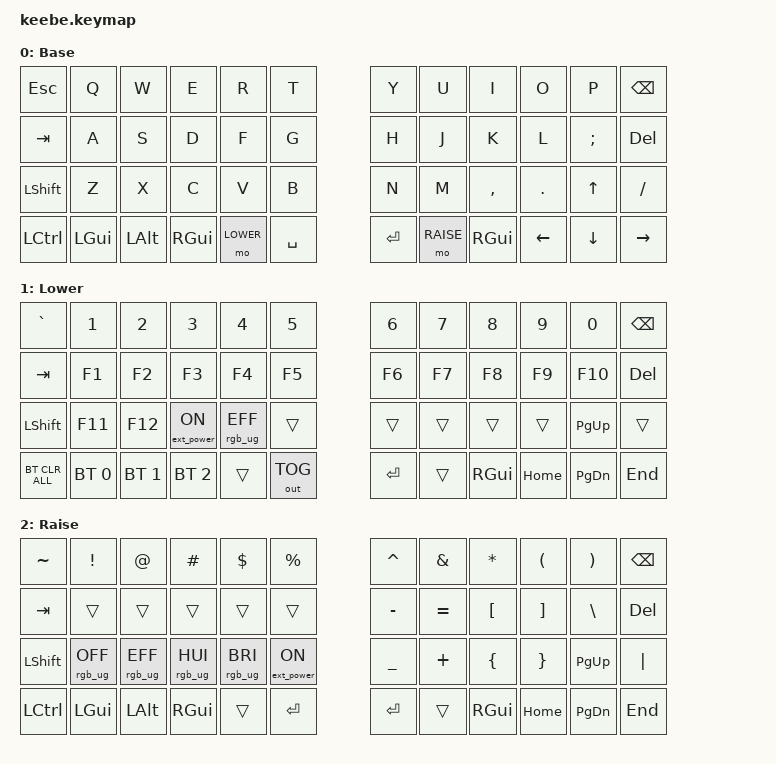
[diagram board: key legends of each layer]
// This file was generated from a template. Edit it to match your keyboard.
// See https://zmk.dev/docs/development/hardware-integration/new-shield for more instructions.


#include <behaviors.dtsi>
#include <dt-bindings/zmk/keys.h>
#include <dt-bindings/zmk/bt.h>
#include <dt-bindings/zmk/outputs.h>
#include <dt-bindings/zmk/rgb.h>
#include <dt-bindings/zmk/ext_power.h>

#define BASE 0
#define LOWER 1
#define RAISE 2

/ {
    keymap {
        compatible = "zmk,keymap";

        default_layer {
            display-name = "Base";
            // -----------------------------------------------------------
            // | ESC | Q  | W  | E  | R  | T  | Y  | U  | I  | O  | P  | BSPC|
            // | TAB | A  | S  | D  | F  | G  | H  | J  | K  | L  | ;  | DEL |
            // | SHFT | Z  | X  | C  | V  | B  | N  | M  | ,  | .  | UP | /   |
            // | CTL | WIN| ALT| WIN| LWR| SPC| ENT| RSE| GUI| LFT| DWN| RGT |
            // -----------------------------------------------------------
            bindings = <
                &kp ESC &kp Q     &kp W     &kp E     &kp R     &kp T     &kp Y     &kp U     &kp I     &kp O     &kp P     &kp BSPC
                &kp TAB &kp A     &kp S     &kp D     &kp F     &kp G     &kp H     &kp J     &kp K     &kp L     &kp SEMI  &kp DEL
                &kp LSHFT        &kp Z     &kp X     &kp C     &kp V     &kp B     &kp N     &kp M     &kp COMMA &kp DOT   &kp UP    &kp FSLH
                &kp LCTRL        &kp LGUI  &kp LALT  &kp RGUI  &mo LOWER &kp SPACE &kp RET   &mo RAISE &kp RGUI  &kp LEFT  &kp DOWN  &kp RIGHT
            >;
        };

        lower_layer {
            display-name = "Lower";
            // -----------------------------------------------------------
            // |  `  | 1  | 2  | 3  | 4  | 5  | 6  | 7  | 8  | 9  | 0  | BSPC|
            // | TAB | F1 | F2 | F3 | F4 | F5 | F6 | F7 | F8 | F9 | F10| DEL |
            // | SHF | F11| F12| EP_TOG|rgbtog    |    |    |    |    |    | PUP|    |
            // |BTCLR| BT0| BT1| BT2|    | ENT| ENT|    | GUI| HOM| PDN| END |
            // -----------------------------------------------------------
            bindings = <
                &kp GRAVE      &kp N1     &kp N2     &kp N3     &kp N4     &kp N5      &kp N6     &kp N7    &kp N8     &kp N9    &kp N0    &kp BSPC
                &kp TAB        &kp F1     &kp F2     &kp F3     &kp F4     &kp F5      &kp F6     &kp F7    &kp F8     &kp F9    &kp F10   &kp DEL
                &kp LSHFT      &kp F11    &kp F12    &ext_power EP_ON    &rgb_ug RGB_EFF &trans    &trans    &trans   &trans     &trans    &kp PG_UP &trans
                &bt BT_CLR_ALL &bt BT_SEL 0 &bt BT_SEL 1 &bt BT_SEL 2      &trans   &out OUT_TOG &kp RET   &trans   &kp RGUI   &kp HOME  &kp PG_DN &kp END
            >;
        };

        raise_layer {
            display-name = "Raise";
            // -----------------------------------------------------------
            // |  ~  | !  | @  | #  | $  | %  | ^  | &  | *  | (  | )  | BSPC|
            // | TAB |    |    |    |    |    | -  | =  | [  | ]  | \  | DEL |
            // | SHFT|TOG | EFF| HUI| BRI |    | _  | +  | {  | }  | PUP| |   |
            // | CTL | WIN| ALT| WIN|    | ENT| ENT|    | GUI| HOM| PDN| END |
            // -----------------------------------------------------------
            bindings = <
                &kp TILDE      &kp EXCL  &kp AT    &kp HASH  &kp DLLR  &kp PRCNT  &kp CARET &kp AMPS  &kp STAR  &kp LPAR  &kp RPAR  &kp BSPC
                &kp TAB        &trans    &trans    &trans    &trans    &trans     &kp MINUS &kp EQUAL &kp LBKT  &kp RBKT  &kp BSLH  &kp DEL
                &kp LSHFT      &rgb_ug RGB_OFF &rgb_ug RGB_EFF &rgb_ug RGB_HUI &rgb_ug RGB_BRI &ext_power EP_ON &kp UNDER &kp PLUS &kp LBRC  &kp RBRC  &kp PG_UP &kp PIPE
                &kp LCTRL      &kp LGUI  &kp LALT  &kp RGUI  &trans    &kp RET    &kp RET   &trans    &kp RGUI  &kp HOME  &kp PG_DN &kp END
            >;
        };
    };
};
